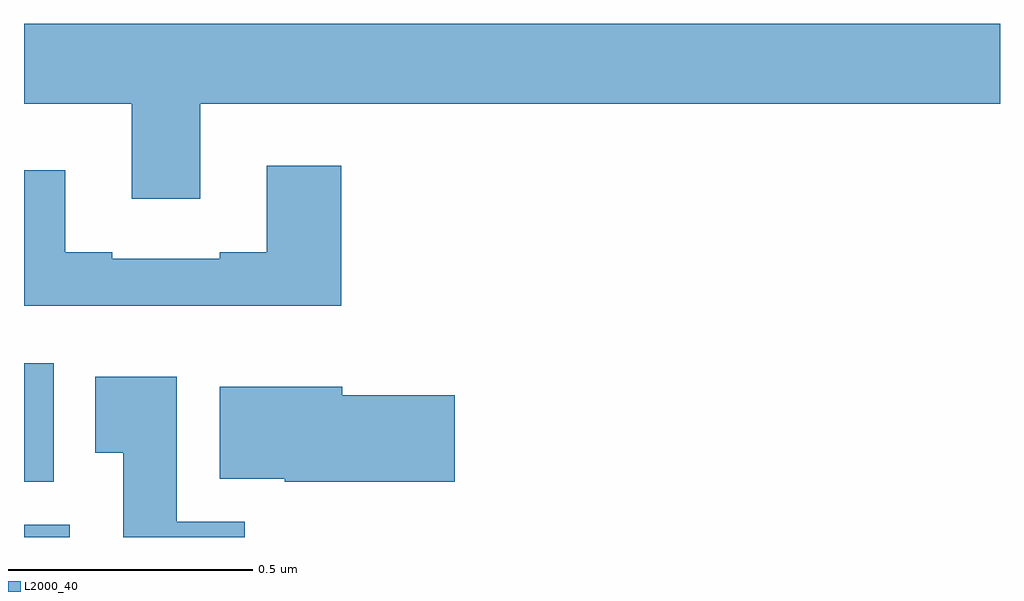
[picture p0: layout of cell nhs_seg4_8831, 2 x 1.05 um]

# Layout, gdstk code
import gdstk
lib = gdstk.Library(unit=1e-6, precision=1e-09)
def R(c, l, rs):  # rectangles x0, y0, x1, y1
    for r in rs: c.add(gdstk.rectangle(r[:2], r[2:], *l))
def P(c, l, *ps):  # polygons
    for p in ps: c.add(gdstk.Polygon(p, *l))
L2000_40 = (2000, 40)

nhs_seg4_8831 = lib.new_cell('nhs_seg4_8831')
R(nhs_seg4_8831, L2000_40, [(219,827.9,219.094,827.926), (219,828.014,219.061,828.256)])
P(nhs_seg4_8831, L2000_40, [(219.361,828.788),(221,828.788),(221,828.952),(219,828.952),(219,828.788),(219.221,828.788),(219.221,828.594),(219.361,828.594)],
  [(219.65,828.661),(219.497,828.661),(219.497,828.484),(219.401,828.484),(219.401,828.471),(219.181,828.471),(219.181,828.484),(219.085,828.484),(219.085,828.652),(219,828.652),(219,828.374),(219.65,828.374)],
  [(219.452,827.932),(219.313,827.932),(219.313,828.229),(219.146,828.229),(219.146,828.073),(219.203,828.073),(219.203,827.9),(219.452,827.9)],
  [(219.883,828.191),(219.652,828.191),(219.652,828.208),(219.401,828.208),(219.401,828.02),(219.534,828.02),(219.534,828.014),(219.883,828.014)])

lib.write_gds('nhs_seg4_8831.gds')
